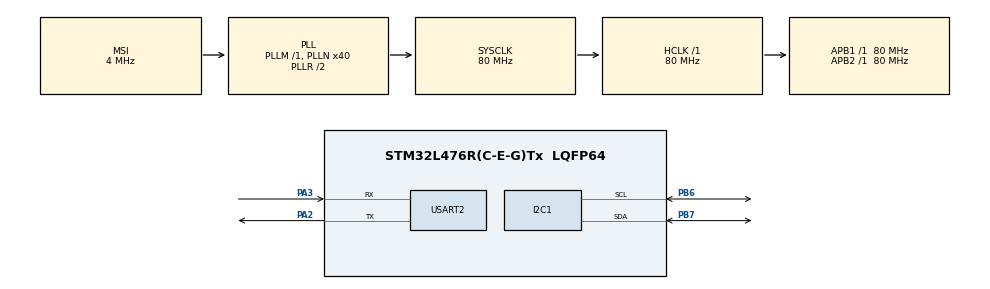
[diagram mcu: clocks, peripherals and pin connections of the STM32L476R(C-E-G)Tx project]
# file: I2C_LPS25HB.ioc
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I2C1.Timing=0x10D19CE4
Mcu.Family=STM32L4
Mcu.Name=STM32L476R(C-E-G)Tx
Mcu.Package=LQFP64
NVIC.PriorityGroup=NVIC_PRIORITYGROUP_4
PA13\ (JTMS-SWDIO).Mode=Serial_Wire
PA13\ (JTMS-SWDIO).Signal=SYS_JTMS-SWDIO
PA14\ (JTCK-SWCLK).Mode=Serial_Wire
PA14\ (JTCK-SWCLK).Signal=SYS_JTCK-SWCLK
PA2.Mode=Asynchronous
PA2.Signal=USART2_TX
PA3.Mode=Asynchronous
PA3.Signal=USART2_RX
PB6.Mode=I2C
PB6.Signal=I2C1_SCL
PB7.Mode=I2C
PB7.Signal=I2C1_SDA
ProjectManager.HeapSize=0x200
ProjectManager.StackSize=0x400
ProjectManager.TargetToolchain=STM32CubeIDE
RCC.AHBFreq_Value=80000000
RCC.APB1Freq_Value=80000000
RCC.APB1TimFreq_Value=80000000
RCC.APB2Freq_Value=80000000
RCC.APB2TimFreq_Value=80000000
RCC.CortexFreq_Value=80000000
RCC.HCLKFreq_Value=80000000
RCC.HSE_VALUE=8000000
RCC.HSI_VALUE=16000000
RCC.LSE_VALUE=32768
RCC.MSI_VALUE=4000000
RCC.PLLN=40
RCC.SYSCLKFreq_VALUE=80000000
RCC.SYSCLKSource=RCC_SYSCLKSOURCE_PLLCLK
RCC.VCOOutputFreq_Value=160000000
USART2.VirtualMode-Asynchronous=VM_ASYNC
board=custom

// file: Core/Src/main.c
/* USER CODE BEGIN Header */
/**
  ******************************************************************************
  * @file           : main.c
  * @brief          : Main program body
  ******************************************************************************
  * @attention
  *
  * Copyright (c) 2026 STMicroelectronics.
  * All rights reserved.
  *
  * This software is licensed under terms that can be found in the LICENSE file
  * in the root directory of this software component.
  * If no LICENSE file comes with this software, it is provided AS-IS.
  *
  ******************************************************************************
  */
/* USER CODE END Header */
#include "main.h"
#include "i2c.h"
#include "usart.h"
#include "gpio.h"

/* USER CODE BEGIN Includes */
#include <stdio.h>
#include "lps25hb.h"
#include <math.h>
/* USER CODE END Includes */

void SystemClock_Config(void);

/* USER CODE BEGIN 0 */
#define LPS25HB_ADDR			0xBA
#define LPS25HB_WHO_AM_I 		0x0F
#define LPS25HB_CTRL_REG1 		0x20
#define LPS25HB_CTRL_REG2 		0x21
#define LPS25HB_CTRL_REG3 		0x22
#define LPS25HB_CTRL_REG4 		0x23
#define LPS25HB_PRESS_OUT_XL 	0x28
#define LPS25HB_PRESS_OUT_L 	0x29
#define LPS25HB_PRESS_OUT_H 	0x2A
#define LPS25HB_TEMP_OUT_L 		0x2B
#define LPS25HB_TEMP_OUT_H 		0x2C
#define LPS25HB_CTRL_REG1_PD 	0x80
#define LPS25HB_CTRL_REG1_ODR2 	0x40
#define LPS25HB_CTRL_REG1_ODR1 	0x20
#define LPS25HB_CTRL_REG1_ODR0 	0x10

int __io_putchar(int ch)
{
  if (ch == '\n') {
    __io_putchar('\r');
  }
  HAL_UART_Transmit(&huart2, (uint8_t*)&ch, 1, HAL_MAX_DELAY);
  return 1;
}

uint8_t lps_read_reg(uint8_t reg)
{
	uint8_t value = 0;
	HAL_I2C_Mem_Read(&hi2c1, LPS25HB_ADDR, reg, 1, &value, sizeof(value), HAL_MAX_DELAY);
	return value;
}
void lps_write_reg(uint8_t reg, uint8_t value)
{
	HAL_I2C_Mem_Write(&hi2c1, LPS25HB_ADDR, reg, 1, &value, sizeof(value), HAL_MAX_DELAY);
}
/* USER CODE END 0 */

int main(void)
{

  /* MCU Configuration--------------------------------------------------------*/

  /* Reset of all peripherals, Initializes the Flash interface and the Systick. */
  HAL_Init();

  /* Configure the system clock */
  SystemClock_Config();

  /* Initialize all configured peripherals */
  MX_GPIO_Init();
  MX_I2C1_Init();
  MX_USART2_UART_Init();

  /* Infinite loop */
  /* USER CODE BEGIN WHILE */
  printf("Searching...\n");
  if (lps25hb_init() == HAL_OK) {
    printf("OK: LPS25HB\n");
  } else {
    printf("Error: LPS25HB not found\n");
    Error_Handler();
  }
  HAL_Delay(5000);
  float p0 = lps25hb_read_pressure();
  while (1)
  {
    float temp = lps25hb_read_temp() + 273.15;
    float p = lps25hb_read_pressure();
    float h = -29.271769 * temp * log(p / p0);
    printf("h = %.2f m\n", h);
    HAL_Delay(1000);
    /* USER CODE END WHILE */

  }
}

void SystemClock_Config(void)
{
  RCC_OscInitTypeDef RCC_OscInitStruct = {0};
  RCC_ClkInitTypeDef RCC_ClkInitStruct = {0};

  /** Configure the main internal regulator output voltage
  */
  if (HAL_PWREx_ControlVoltageScaling(PWR_REGULATOR_VOLTAGE_SCALE1) != HAL_OK)
  {
    Error_Handler();
  }

  /** Initializes the RCC Oscillators according to the specified parameters
  * in the RCC_OscInitTypeDef structure.
  */
  RCC_OscInitStruct.OscillatorType = RCC_OSCILLATORTYPE_MSI;
  RCC_OscInitStruct.MSIState = RCC_MSI_ON;
  RCC_OscInitStruct.MSICalibrationValue = 0;
  RCC_OscInitStruct.MSIClockRange = RCC_MSIRANGE_6;
  RCC_OscInitStruct.PLL.PLLState = RCC_PLL_ON;
  RCC_OscInitStruct.PLL.PLLSource = RCC_PLLSOURCE_MSI;
  RCC_OscInitStruct.PLL.PLLM = 1;
  RCC_OscInitStruct.PLL.PLLN = 40;
  RCC_OscInitStruct.PLL.PLLP = RCC_PLLP_DIV7;
  RCC_OscInitStruct.PLL.PLLQ = RCC_PLLQ_DIV2;
  RCC_OscInitStruct.PLL.PLLR = RCC_PLLR_DIV2;
  if (HAL_RCC_OscConfig(&RCC_OscInitStruct) != HAL_OK)
  {
    Error_Handler();
  }

  /** Initializes the CPU, AHB and APB buses clocks
  */
  RCC_ClkInitStruct.ClockType = RCC_CLOCKTYPE_HCLK|RCC_CLOCKTYPE_SYSCLK
                              |RCC_CLOCKTYPE_PCLK1|RCC_CLOCKTYPE_PCLK2;
  RCC_ClkInitStruct.SYSCLKSource = RCC_SYSCLKSOURCE_PLLCLK;
  RCC_ClkInitStruct.AHBCLKDivider = RCC_SYSCLK_DIV1;
  RCC_ClkInitStruct.APB1CLKDivider = RCC_HCLK_DIV1;
  RCC_ClkInitStruct.APB2CLKDivider = RCC_HCLK_DIV1;

  if (HAL_RCC_ClockConfig(&RCC_ClkInitStruct, FLASH_LATENCY_4) != HAL_OK)
  {
    Error_Handler();
  }
}

void Error_Handler(void)
{
  __disable_irq();
  while (1)
  {
  }
}
